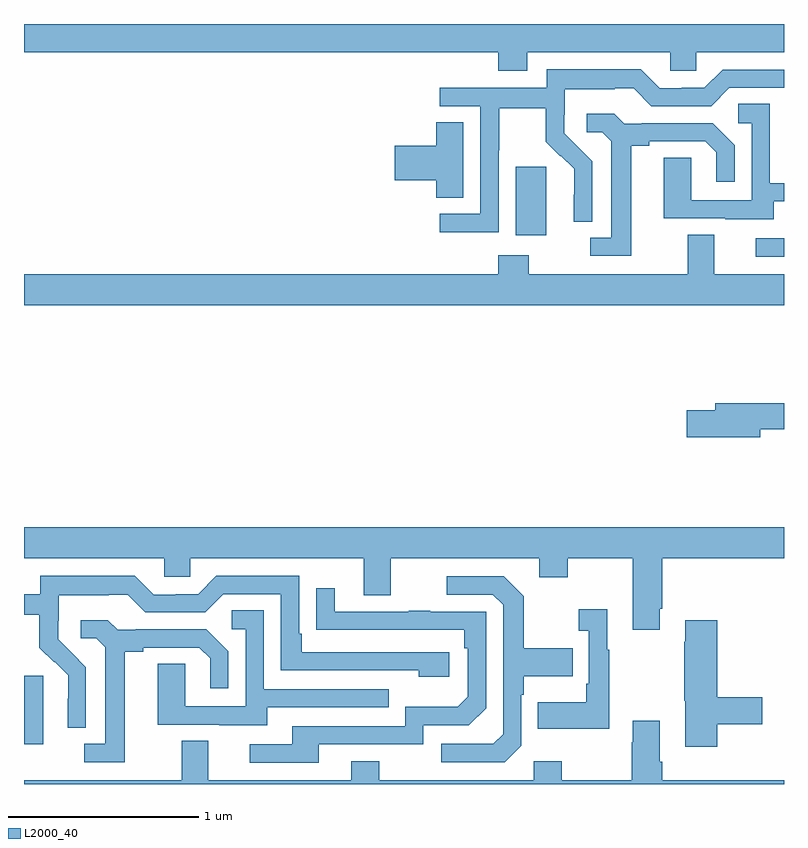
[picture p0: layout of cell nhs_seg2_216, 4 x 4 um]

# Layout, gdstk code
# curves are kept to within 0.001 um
import gdstk
lib = gdstk.Library(unit=1e-6, precision=1e-09)
def R(c, l, rs):  # rectangles x0, y0, x1, y1
    for r in rs: c.add(gdstk.rectangle(r[:2], r[2:], *l))
def P(c, l, *ps):  # polygons
    for p in ps: c.add(gdstk.Polygon(p, *l))
L2000_40 = (2000, 40)

nhs_seg2_216 = lib.new_cell('nhs_seg2_216')
R(nhs_seg2_216, L2000_40, [(121,628.01,121.102,628.371), (124.851,630.576,125,630.672), (123.587,630.687,123.748,631.048)])
P(nhs_seg2_216, L2000_40, [(123.649,631.652),(124.401,631.652),(124.401,631.554),(124.539,631.554),(124.539,631.652),(125,631.652),(125,631.8),(121,631.8),(121,631.652),(123.497,631.652),(123.497,631.553),(123.649,631.553)],
  [(123.498,631.135),(123.501,631.135),(123.501,631.356),(123.745,631.356),(123.745,631.181),(123.822,631.104),(123.825,631.107),(123.896,631.037),(123.896,630.902),(123.893,630.902),(123.893,630.76),(123.99,630.76),(123.99,631.078),(123.844,631.226),(123.844,631.323),(123.846,631.323),(123.846,631.457),(124.109,631.457),(124.109,631.461),(124.209,631.461),(124.302,631.368),(124.617,631.368),(124.713,631.464),(125,631.464),(125,631.56),(124.677,631.56),(124.581,631.464),(124.463,631.464),(124.463,631.461),(124.347,631.461),(124.247,631.561),(123.75,631.561),(123.75,631.464),(123.189,631.464),(123.189,631.368),(123.402,631.368),(123.402,630.801),(123.189,630.801),(123.189,630.703),(123.498,630.703)],
  [(124.945,630.867),(125,630.867),(125,630.963),(124.926,630.963),(124.926,631.379),(124.758,631.379),(124.758,631.278),(124.83,631.278),(124.83,630.873),(124.512,630.873),(124.512,631.097),(124.367,631.097),(124.367,630.777),(124.691,630.777),(124.691,630.773),(124.945,630.773)],
  [(124.195,631.16),(124.291,631.16),(124.291,631.182),(124.586,631.182),(124.643,631.125),(124.643,630.969),(124.74,630.969),(124.74,631.162),(124.624,631.278),(124.252,631.278),(124.252,631.275),(124.158,631.275),(124.106,631.327),(123.963,631.327),(123.963,631.23),(124.044,631.23),(124.091,631.183),(124.091,630.675),(123.981,630.675),(123.981,630.579),(124.195,630.579)],
  [(123.313,631.283),(123.17,631.283),(123.17,631.16),(122.952,631.16),(122.952,630.977),(123.17,630.977),(123.17,630.886),(123.313,630.886)],
  [(125,630.484),(124.633,630.484),(124.633,630.692),(124.493,630.692),(124.493,630.484),(123.657,630.484),(123.657,630.583),(123.497,630.583),(123.497,630.484),(121,630.484),(121,630.32),(125,630.32)],
  [(124.876,629.668),(125,629.668),(125,629.804),(124.637,629.804),(124.637,629.768),(124.488,629.768),(124.488,629.626),(124.876,629.626)],
  [(124.345,628.723),(124.358,628.723),(124.358,628.988),(125,628.988),(125,629.152),(121,629.152),(121,628.988),(121.737,628.988),(121.737,628.89),(121.875,628.89),(121.875,628.988),(122.789,628.988),(122.789,628.794),(122.929,628.794),(122.929,628.988),(123.713,628.988),(123.713,628.889),(123.861,628.889),(123.861,628.988),(124.205,628.988),(124.205,628.611),(124.345,628.611)],
  [(121.326,628.414),(121.18,628.562),(121.18,628.659),(121.182,628.659),(121.182,628.793),(121.445,628.793),(121.445,628.797),(121.545,628.797),(121.638,628.704),(121.953,628.704),(122.049,628.8),(122.352,628.8),(122.352,628.398),(123.077,628.398),(123.077,628.364),(123.238,628.364),(123.238,628.494),(122.461,628.494),(122.461,628.591),(122.448,628.591),(122.448,628.896),(122.013,628.896),(121.917,628.8),(121.799,628.8),(121.799,628.797),(121.683,628.797),(121.583,628.897),(121.086,628.897),(121.086,628.8),(121,628.8),(121,628.692),(121.081,628.692),(121.081,628.517),(121.158,628.44),(121.161,628.443),(121.232,628.373),(121.232,628.25),(121.23,628.25),(121.23,628.096),(121.326,628.096)],
  [(123.618,628.002),(123.618,628.271),(123.631,628.271),(123.631,628.367),(123.887,628.367),(123.887,628.515),(123.631,628.515),(123.631,628.787),(123.525,628.893),(123.225,628.893),(123.225,628.797),(123.468,628.797),(123.522,628.743),(123.522,628.062),(123.471,628.011),(123.195,628.011),(123.195,627.915),(123.531,627.915)],
  [(122.551,628.008),(123.102,628.008),(123.102,628.11),(123.342,628.11),(123.432,628.2),(123.432,628.707),(123.137,628.707),(123.137,628.712),(123.025,628.712),(123.025,628.707),(122.635,628.707),(122.635,628.831),(122.539,628.831),(122.539,628.612),(123.316,628.611),(123.316,628.514),(123.336,628.514),(123.336,628.26),(123.283,628.207),(123.006,628.207),(123.006,628.104),(122.411,628.104),(122.411,628.008),(122.187,628.008),(122.187,627.912),(122.551,627.912)],
  [(124.081,628.507),(124.069,628.507),(124.069,628.72),(123.921,628.72),(123.921,628.607),(123.972,628.607),(123.972,628.327),(123.96,628.327),(123.96,628.231),(123.703,628.231),(123.703,628.091),(124.081,628.091)],
  [(122.281,628.203),(122.921,628.203),(122.921,628.299),(122.262,628.299),(122.262,628.715),(122.094,628.715),(122.094,628.614),(122.166,628.614),(122.166,628.209),(121.848,628.209),(121.848,628.433),(121.703,628.433),(121.703,628.113),(122.027,628.113),(122.027,628.109),(122.281,628.109)],
  [(124.649,628.114),(124.885,628.114),(124.885,628.256),(124.649,628.256),(124.649,628.663),(124.481,628.663),(124.481,628.55),(124.474,628.55),(124.474,628.239),(124.481,628.239),(124.481,627.996),(124.649,627.996)],
  [(121.531,628.496),(121.627,628.496),(121.627,628.518),(121.922,628.518),(121.979,628.461),(121.979,628.305),(122.076,628.305),(122.076,628.498),(121.96,628.614),(121.588,628.614),(121.588,628.611),(121.494,628.611),(121.442,628.663),(121.299,628.663),(121.299,628.566),(121.38,628.566),(121.427,628.519),(121.427,628.011),(121.317,628.011),(121.317,627.915),(121.531,627.915)],
  [(125,627.82),(124.358,627.82),(124.358,627.916),(124.345,627.916),(124.345,628.132),(124.205,628.132),(124.205,628.019),(124.198,628.019),(124.198,627.82),(123.831,627.82),(123.831,627.919),(123.684,627.919),(123.684,627.82),(122.871,627.82),(122.871,627.919),(122.723,627.919),(122.723,627.82),(121.969,627.82),(121.969,628.028),(121.829,628.028),(121.829,627.82),(121,627.82),(121,627.8),(125,627.8)])

lib.write_gds('nhs_seg2_216.gds')
